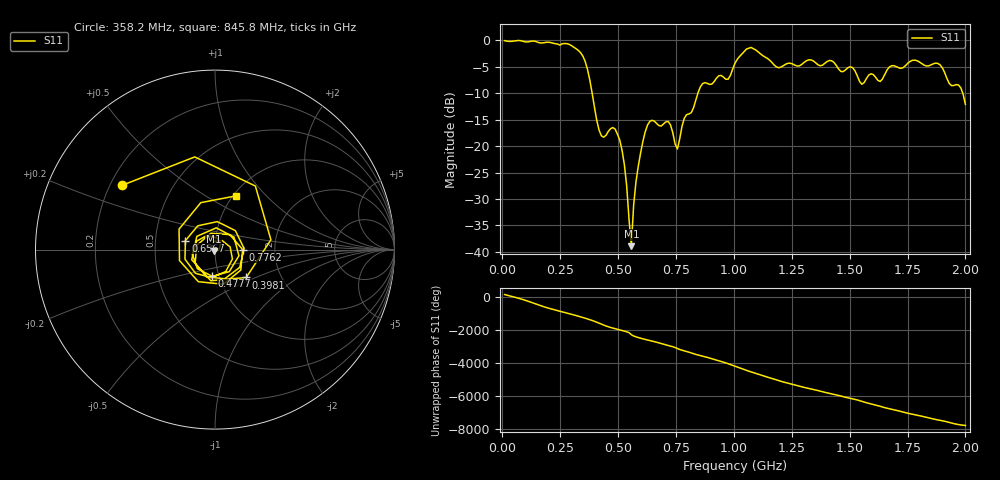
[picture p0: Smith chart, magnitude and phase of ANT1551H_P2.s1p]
!Created with skrf (http://scikit-rf.org).
# Hz S RI R 50.0
!freq ReS11 ImS11
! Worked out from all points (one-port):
!   201 points, 10 MHz to 2 GHz, reference 50 ohm
!   lowest |S11| = -38.9 dB at 557.2 MHz (marker M1), VSWR 1.02, Z = 49.2 - j0.79 ohm
!   |S11| at or under -10 dB: 388.1 MHz to 844.6 MHz (456.5 MHz wide, 74.1 % of centre); 1.989 GHz to end of sweep
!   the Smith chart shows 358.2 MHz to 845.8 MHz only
!   S11 on the Smith chart (normalised r, x): 358.2 MHz: 0.25, +0.29; 398.1 MHz: 1.34, -0.44; 477.6 MHz: 0.93, -0.28; 656.8 MHz: 0.71, +0.07; 776.1 MHz: 1.36, +0.00; 845.8 MHz: 1.03, +0.69
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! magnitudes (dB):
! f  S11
! 10 MHz  -0.1
! 258.8 MHz  -0.6
! 358.2 MHz  -4.0
! 398.1 MHz  -12.6
! 427.9 MHz  -18.0
! 477.6 MHz  -16.5
! 507.5 MHz  -18.9
! 527.4 MHz  -23.6
! 557.2 MHz  -38.9
! 567.2 MHz  -31.2
! 597 MHz  -21.4
! 626.9 MHz  -16.0
! 656.8 MHz  -15.3
! 716.5 MHz  -15.3
! 756.2 MHz  -20.6
! 776.1 MHz  -16.2
! 845.8 MHz  -9.8
! 975.1 MHz  -7.3
! 1.005 GHz  -4.3
! 1.075 GHz  -1.3
! 1.184 GHz  -5.0
! 1.254 GHz  -4.5
! 1.502 GHz  -5.0
! 1.552 GHz  -8.3
! 1.751 GHz  -4.3
! 1.891 GHz  -4.6
! 1.98 GHz  -9.0
! 2 GHz  -12.1
